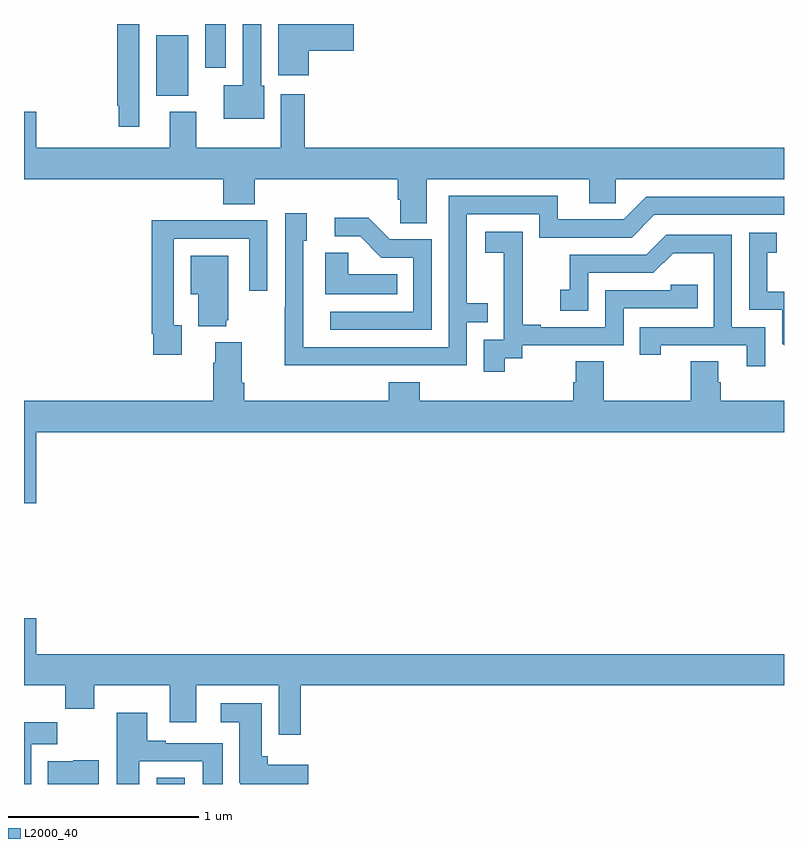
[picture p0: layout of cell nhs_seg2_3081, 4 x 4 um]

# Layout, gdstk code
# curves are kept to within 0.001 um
import gdstk
lib = gdstk.Library(unit=1e-6, precision=1e-09)
def R(c, l, rs):  # rectangles x0, y0, x1, y1
    for r in rs: c.add(gdstk.rectangle(r[:2], r[2:], *l))
def P(c, l, *ps):  # polygons
    for p in ps: c.add(gdstk.Polygon(p, *l))
L2000_40 = (2000, 40)

nhs_seg2_3081 = lib.new_cell('nhs_seg2_3081')
R(nhs_seg2_3081, L2000_40, [(273.698,629.8,273.847,629.834), (273.695,633.422,273.865,633.742), (273.953,633.57,274.063,633.8)])
P(nhs_seg2_3081, L2000_40, [(274.499,633.659),(274.735,633.659),(274.735,633.8),(274.337,633.8),(274.337,633.531),(274.499,633.531)],
  [(273.606,633.8),(273.49,633.8),(273.49,633.37),(273.498,633.37),(273.498,633.258),(273.606,633.258)],
  [(274.264,633.474),(274.248,633.474),(274.248,633.8),(274.152,633.8),(274.152,633.478),(274.052,633.478),(274.052,633.302),(274.264,633.302)],
  [(275.119,632.984),(275.975,632.984),(275.975,632.857),(276.114,632.857),(276.114,632.984),(277,632.984),(277,633.148),(274.478,633.148),(274.478,633.43),(274.352,633.43),(274.352,633.148),(273.907,633.148),(273.907,633.337),(273.767,633.337),(273.767,633.148),(273.064,633.148),(273.064,633.337),(273,633.337),(273,632.984),(274.049,632.984),(274.049,632.851),(274.214,632.851),(274.214,632.984),(274.967,632.984),(274.967,632.875),(274.98,632.875),(274.98,632.752),(275.119,632.752)],
  [(274.835,632.004),(275.331,632.004),(275.331,632.229),(275.441,632.229),(275.441,632.33),(275.331,632.33),(275.331,632.799),(275.712,632.799),(275.712,632.676),(276.198,632.676),(276.318,632.796),(277,632.796),(277,632.892),(276.276,632.892),(276.156,632.772),(275.809,632.772),(275.809,632.895),(275.235,632.895),(275.235,632.1),(274.47,632.1),(274.47,632.658),(274.489,632.658),(274.489,632.803),(274.374,632.803),(274.374,632.309),(274.372,632.309),(274.372,632.003)],
  [(275.145,632.667),(274.926,632.667),(274.813,632.78),(274.635,632.78),(274.635,632.682),(274.769,632.682),(274.88,632.571),(275.049,632.571),(275.049,632.286),(274.611,632.286),(274.611,632.19),(275.145,632.19)],
  [(273.829,632.214),(273.789,632.214),(273.789,632.67),(274.185,632.67),(274.185,632.397),(274.281,632.397),(274.281,632.766),(273.965,632.766),(273.965,632.768),(273.673,632.768),(273.673,632.17),(273.681,632.17),(273.681,632.058),(273.829,632.058)],
  [(275.53,632.041),(275.622,632.041),(275.622,632.109),(276.156,632.109),(276.156,632.304),(276.545,632.304),(276.545,632.427),(276.405,632.427),(276.405,632.4),(276.06,632.4),(276.06,632.205),(275.719,632.205),(275.719,632.218),(275.624,632.218),(275.624,632.501),(275.625,632.501),(275.625,632.707),(275.427,632.707),(275.427,632.597),(275.525,632.597),(275.525,632.369),(275.526,632.369),(275.526,632.139),(275.421,632.139),(275.421,631.971),(275.53,631.971)],
  [(277,632.391),(276.913,632.391),(276.913,632.595),(276.962,632.595),(276.962,632.701),(276.816,632.701),(276.816,632.295),(276.99,632.295),(276.99,632.118),(277,632.108)],
  [(276.9,632.205),(276.726,632.205),(276.726,632.691),(276.38,632.691),(276.275,632.586),(275.872,632.586),(275.872,632.401),(275.823,632.401),(275.823,632.292),(275.97,632.292),(275.97,632.49),(276.312,632.49),(276.416,632.594),(276.63,632.594),(276.63,632.205),(276.241,632.205),(276.241,632.058),(276.352,632.058),(276.352,632.109),(276.803,632.109),(276.803,631.998),(276.9,631.998)],
  [(274.964,632.482),(274.707,632.482),(274.707,632.597),(274.586,632.597),(274.586,632.378),(274.964,632.378)],
  [(274.064,632.241),(274.075,632.241),(274.075,632.581),(273.878,632.581),(273.878,632.378),(273.917,632.378),(273.917,632.21),(274.064,632.21)],
  [(273.064,631.652),(277,631.652),(277,631.816),(276.668,631.816),(276.668,631.914),(276.655,631.914),(276.655,632.024),(276.508,632.024),(276.508,631.816),(276.051,631.816),(276.051,632.024),(275.903,632.024),(275.903,631.914),(275.891,631.914),(275.891,631.816),(275.084,631.816),(275.084,631.915),(274.919,631.915),(274.919,631.816),(274.16,631.816),(274.16,631.912),(274.147,631.912),(274.147,632.125),(274.007,632.125),(274.007,632.018),(273.995,632.018),(273.995,631.816),(273,631.816),(273,631.278),(273.064,631.278)],
  [(274.457,630.32),(277,630.32),(277,630.484),(273.064,630.484),(273.064,630.673),(273,630.673),(273,630.32),(273.217,630.32),(273.217,630.196),(273.369,630.196),(273.369,630.32),(273.767,630.32),(273.767,630.126),(273.907,630.126),(273.907,630.32),(274.341,630.32),(274.341,630.06),(274.457,630.06)],
  [(274.495,629.902),(274.283,629.902),(274.283,629.946),(274.252,629.946),(274.252,630.226),(274.035,630.226),(274.035,630.125),(274.133,630.125),(274.133,629.806),(274.137,629.806),(274.137,629.8),(274.495,629.8)],
  [(273.607,629.919),(273.941,629.919),(273.941,629.8),(274.045,629.8),(274.045,630.015),(273.745,630.015),(273.745,630.028),(273.649,630.028),(273.649,630.175),(273.488,630.175),(273.488,629.8),(273.607,629.8)],
  [(273.037,630.008),(273.176,630.008),(273.176,630.126),(273,630.126),(273,629.8),(273.037,629.8)],
  [(273.394,629.926),(273.258,629.926),(273.258,629.92),(273.125,629.92),(273.125,629.8),(273.394,629.8)])

lib.write_gds('nhs_seg2_3081.gds')
